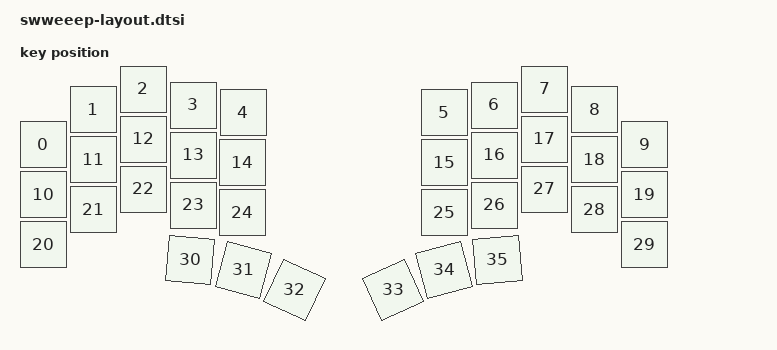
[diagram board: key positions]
#include <physical_layouts.dtsi>

/ {
    swweeep_layout: swweeep_layout {
        compatible = "zmk,physical-layout";
        display-name = "Default";

        keys  //                     w   h    x    y     rot    rx    ry
            = <&key_physical_attrs 100 100    0  111       0     0     0>
            , <&key_physical_attrs 100 100  100   41       0     0     0>
            , <&key_physical_attrs 100 100  200    0       0     0     0>
            , <&key_physical_attrs 100 100  300   32       0     0     0>
            , <&key_physical_attrs 100 100  400   47       0     0     0>
            , <&key_physical_attrs 100 100  803   47       0     0     0>
            , <&key_physical_attrs 100 100  903   32       0     0     0>
            , <&key_physical_attrs 100 100 1003    0       0     0     0>
            , <&key_physical_attrs 100 100 1103   41       0     0     0>
            , <&key_physical_attrs 100 100 1203  111       0     0     0>
            , <&key_physical_attrs 100 100    0  211       0     0     0>
            , <&key_physical_attrs 100 100  100  141       0     0     0>
            , <&key_physical_attrs 100 100  200  100       0     0     0>
            , <&key_physical_attrs 100 100  300  132       0     0     0>
            , <&key_physical_attrs 100 100  399  147       0     0     0>
            , <&key_physical_attrs 100 100  803  147       0     0     0>
            , <&key_physical_attrs 100 100  903  132       0     0     0>
            , <&key_physical_attrs 100 100 1003  100       0     0     0>
            , <&key_physical_attrs 100 100 1103  141       0     0     0>
            , <&key_physical_attrs 100 100 1203  211       0     0     0>
            , <&key_physical_attrs 100 100    0  311       0     0     0>
            , <&key_physical_attrs 100 100  100  241       0     0     0>
            , <&key_physical_attrs 100 100  200  200       0     0     0>
            , <&key_physical_attrs 100 100  300  232       0     0     0>
            , <&key_physical_attrs 100 100  399  247       0     0     0>
            , <&key_physical_attrs 100 100  803  247       0     0     0>
            , <&key_physical_attrs 100 100  903  232       0     0     0>
            , <&key_physical_attrs 100 100 1003  200       0     0     0>
            , <&key_physical_attrs 100 100 1103  241       0     0     0>
            , <&key_physical_attrs 100 100 1203  311       0     0     0>
            , <&key_physical_attrs 100 100  294  342     500   344   392>
            , <&key_physical_attrs 100 100  401  362    1500   451   412>
            , <&key_physical_attrs 100 100  503  402    2500   553   452>
            , <&key_physical_attrs 100 100  700  402 (-2500)   750   452>
            , <&key_physical_attrs 100 100  802  362 (-1500)   852   412>
            , <&key_physical_attrs 100 100  909  342  (-500)   959   392>
            ;
    };
};
